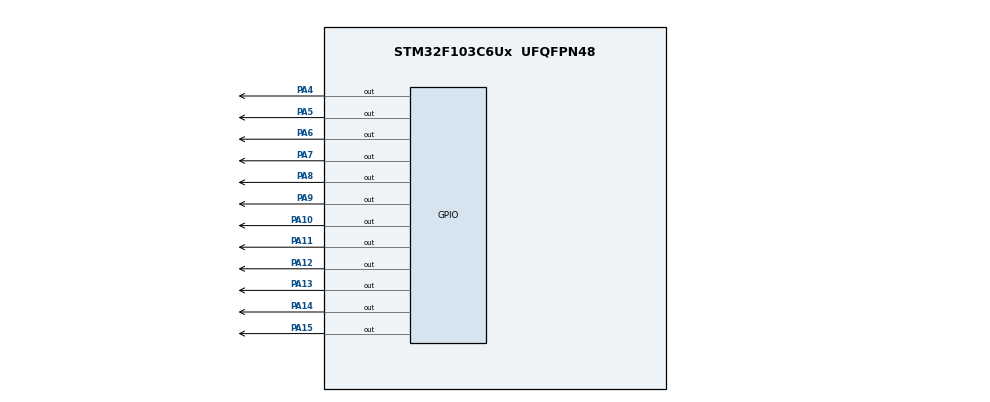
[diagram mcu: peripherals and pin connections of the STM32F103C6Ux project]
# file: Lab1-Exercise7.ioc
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Mcu.Family=STM32F1
Mcu.Name=STM32F103C6Ux
Mcu.Package=UFQFPN48
NVIC.PriorityGroup=NVIC_PRIORITYGROUP_4
PA10.Signal=GPIO_Output
PA11.Signal=GPIO_Output
PA12.Signal=GPIO_Output
PA13.Signal=GPIO_Output
PA14.Signal=GPIO_Output
PA15.Signal=GPIO_Output
PA4.Signal=GPIO_Output
PA5.Signal=GPIO_Output
PA6.Signal=GPIO_Output
PA7.Signal=GPIO_Output
PA8.Signal=GPIO_Output
PA9.Signal=GPIO_Output
ProjectManager.HeapSize=0x200
ProjectManager.StackSize=0x400
ProjectManager.TargetToolchain=STM32CubeIDE
RCC.APB1Freq_Value=8000000
RCC.APB2Freq_Value=8000000
VP_SYS_VS_ND.Mode=No_Debug
board=custom

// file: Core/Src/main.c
/* USER CODE BEGIN Header */
/**
  ******************************************************************************
  * @file           : main.c
  * @brief          : Main program body
  ******************************************************************************
  * @attention
  *
  * <h2><center>&copy; Copyright (c) 2022 STMicroelectronics.
  * All rights reserved.</center></h2>
  *
  * This software component is licensed by ST under BSD 3-Clause license,
  * the "License"; You may not use this file except in compliance with the
  * License. You may obtain a copy of the License at:
  *                        opensource.org/licenses/BSD-3-Clause
  *
  ******************************************************************************
  */
/* USER CODE END Header */
#include "main.h"

void SystemClock_Config(void);
static void MX_GPIO_Init(void);

/* USER CODE BEGIN 0 */
void setAllClock(){
	  HAL_GPIO_WritePin(GPIOA, GPIO_PIN_4, SET);
	  HAL_GPIO_WritePin(GPIOA, GPIO_PIN_5, SET);
	  HAL_GPIO_WritePin(GPIOA, GPIO_PIN_6, SET);
	  HAL_GPIO_WritePin(GPIOA, GPIO_PIN_7, SET);
	  HAL_GPIO_WritePin(GPIOA, GPIO_PIN_8, SET);
	  HAL_GPIO_WritePin(GPIOA, GPIO_PIN_9, SET);
	  HAL_GPIO_WritePin(GPIOA, GPIO_PIN_10, SET);
	  HAL_GPIO_WritePin(GPIOA, GPIO_PIN_11, SET);
	  HAL_GPIO_WritePin(GPIOA, GPIO_PIN_12, SET);
	  HAL_GPIO_WritePin(GPIOA, GPIO_PIN_13, SET);
	  HAL_GPIO_WritePin(GPIOA, GPIO_PIN_14, SET);
	  HAL_GPIO_WritePin(GPIOA, GPIO_PIN_15, SET);
}
void clearAllClock(){
	  HAL_GPIO_WritePin(GPIOA, GPIO_PIN_4, RESET);
	  HAL_GPIO_WritePin(GPIOA, GPIO_PIN_5, RESET);
	  HAL_GPIO_WritePin(GPIOA, GPIO_PIN_6, RESET);
	  HAL_GPIO_WritePin(GPIOA, GPIO_PIN_7, RESET);
	  HAL_GPIO_WritePin(GPIOA, GPIO_PIN_8, RESET);
	  HAL_GPIO_WritePin(GPIOA, GPIO_PIN_9, RESET);
	  HAL_GPIO_WritePin(GPIOA, GPIO_PIN_10, RESET);
	  HAL_GPIO_WritePin(GPIOA, GPIO_PIN_11, RESET);
	  HAL_GPIO_WritePin(GPIOA, GPIO_PIN_12, RESET);
	  HAL_GPIO_WritePin(GPIOA, GPIO_PIN_13, RESET);
	  HAL_GPIO_WritePin(GPIOA, GPIO_PIN_14, RESET);
	  HAL_GPIO_WritePin(GPIOA, GPIO_PIN_15, RESET);
}
/* USER CODE END 0 */

int main(void)
{

  /* MCU Configuration--------------------------------------------------------*/

  /* Reset of all peripherals, Initializes the Flash interface and the Systick. */
  HAL_Init();

  /* Configure the system clock */
  SystemClock_Config();

  /* Initialize all configured peripherals */
  MX_GPIO_Init();

  /* Infinite loop */
  while (1)
  {
	  setAllClock();
	  HAL_Delay(1000);
	  clearAllClock();
	  HAL_Delay(1000);
  }
}

void SystemClock_Config(void)
{
  RCC_OscInitTypeDef RCC_OscInitStruct = {0};
  RCC_ClkInitTypeDef RCC_ClkInitStruct = {0};

  /** Initializes the RCC Oscillators according to the specified parameters
  * in the RCC_OscInitTypeDef structure.
  */
  RCC_OscInitStruct.OscillatorType = RCC_OSCILLATORTYPE_HSI;
  RCC_OscInitStruct.HSIState = RCC_HSI_ON;
  RCC_OscInitStruct.HSICalibrationValue = RCC_HSICALIBRATION_DEFAULT;
  RCC_OscInitStruct.PLL.PLLState = RCC_PLL_NONE;
  if (HAL_RCC_OscConfig(&RCC_OscInitStruct) != HAL_OK)
  {
    Error_Handler();
  }
  /** Initializes the CPU, AHB and APB buses clocks
  */
  RCC_ClkInitStruct.ClockType = RCC_CLOCKTYPE_HCLK|RCC_CLOCKTYPE_SYSCLK
                              |RCC_CLOCKTYPE_PCLK1|RCC_CLOCKTYPE_PCLK2;
  RCC_ClkInitStruct.SYSCLKSource = RCC_SYSCLKSOURCE_HSI;
  RCC_ClkInitStruct.AHBCLKDivider = RCC_SYSCLK_DIV1;
  RCC_ClkInitStruct.APB1CLKDivider = RCC_HCLK_DIV1;
  RCC_ClkInitStruct.APB2CLKDivider = RCC_HCLK_DIV1;

  if (HAL_RCC_ClockConfig(&RCC_ClkInitStruct, FLASH_LATENCY_0) != HAL_OK)
  {
    Error_Handler();
  }
}

static void MX_GPIO_Init(void)
{
  GPIO_InitTypeDef GPIO_InitStruct = {0};

  /* GPIO Ports Clock Enable */
  __HAL_RCC_GPIOA_CLK_ENABLE();

  /*Configure GPIO pin Output Level */
  HAL_GPIO_WritePin(GPIOA, GPIO_PIN_4|GPIO_PIN_5|GPIO_PIN_6|GPIO_PIN_7
                          |GPIO_PIN_8|GPIO_PIN_9|GPIO_PIN_10|GPIO_PIN_11
                          |GPIO_PIN_12|GPIO_PIN_13|GPIO_PIN_14|GPIO_PIN_15, GPIO_PIN_RESET);

  /*Configure GPIO pins : PA4 PA5 PA6 PA7
                           PA8 PA9 PA10 PA11
                           PA12 PA13 PA14 PA15 */
  GPIO_InitStruct.Pin = GPIO_PIN_4|GPIO_PIN_5|GPIO_PIN_6|GPIO_PIN_7
                          |GPIO_PIN_8|GPIO_PIN_9|GPIO_PIN_10|GPIO_PIN_11
                          |GPIO_PIN_12|GPIO_PIN_13|GPIO_PIN_14|GPIO_PIN_15;
  GPIO_InitStruct.Mode = GPIO_MODE_OUTPUT_PP;
  GPIO_InitStruct.Pull = GPIO_NOPULL;
  GPIO_InitStruct.Speed = GPIO_SPEED_FREQ_LOW;
  HAL_GPIO_Init(GPIOA, &GPIO_InitStruct);

}

void Error_Handler(void)
{
  __disable_irq();
  while (1)
  {
  }
}

/************************ (C) COPYRIGHT STMicroelectronics *****END OF FILE****/
